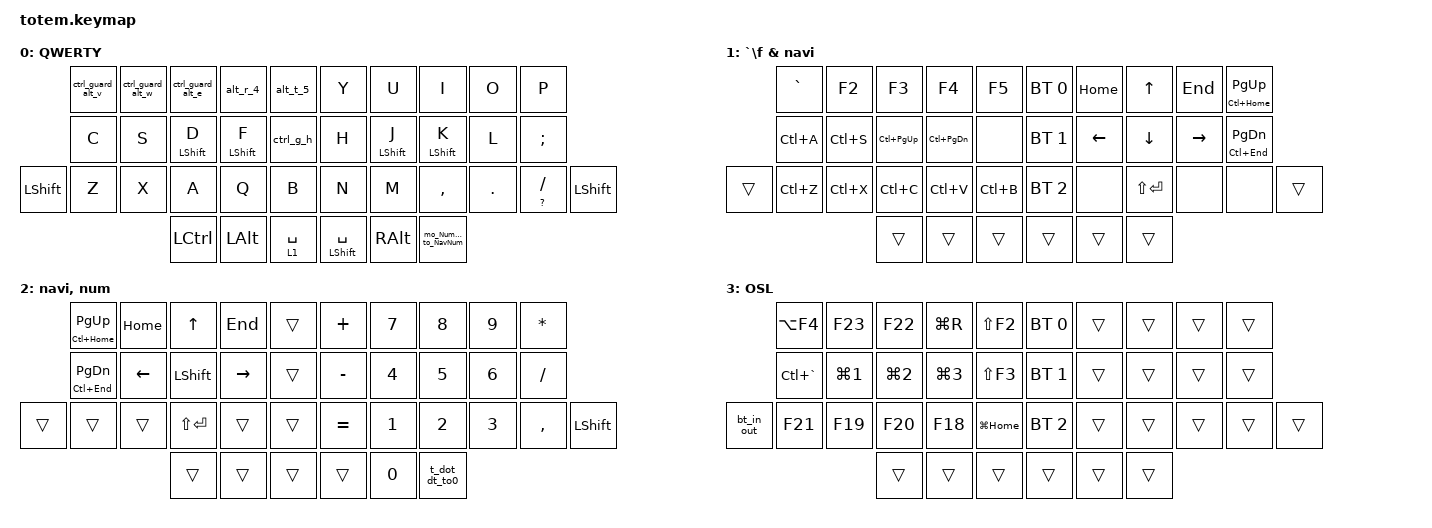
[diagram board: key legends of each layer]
#define QWERTY 0
#define NAV    1
#define NUM    2
#define OSL    3
#define PINKY  4

#include <behaviors.dtsi>
#include <dt-bindings/zmk/bt.h>
#include <dt-bindings/zmk/keys.h>
#include <dt-bindings/zmk/outputs.h>

/*
 * KEYBALL39 -> TOTEM layer port
 *
 * KEYBALL39 layers 0 / 1 / 2 / 3 / 7
 *       TOTEM layers 0 / 1 / 2 / 3 / 4
 *
 * TOTEM's two outer bottom-row keys are LSHIFT / RSHIFT.
 * The six thumb keys follow the supplied layout image:
 *
 *   left : LT(NAV, SPACE), LCTRL, LALT
 *   right: SPACE, CAPSLOCK, LT(NUM, SPACE)
 */

&lt {
    tapping-term-ms = <240>;
    flavor = "balanced";
    quick-tap-ms = <150>;
};

&mt {
    tapping-term-ms = <200>;
    flavor = "tap-preferred";
    quick-tap-ms = <150>;
};

&caps_word { continue-list = <UNDERSCORE MINUS>; };

/ {
    behaviors {
        cmqus: comma_question {
            compatible = "zmk,behavior-mod-morph";
            label = "COMMA_QUESTION";
            #binding-cells = <0>;
            bindings = <&kp COMMA>, <&kp QUESTION>;

            mods = <(MOD_LSFT | MOD_RSFT)>;
        };

        dtsmi: dot_semi {
            compatible = "zmk,behavior-mod-morph";
            label = "DOT_SEMI";
            #binding-cells = <0>;
            bindings = <&kp DOT>, <&kp SEMI>;

            mods = <(MOD_LSFT | MOD_RSFT)>;
        };

        hrm_L: homerow_left {
            compatible = "zmk,behavior-hold-tap";
            label = "Homerow_L";
            bindings = <&kp>, <&kp>;

            #binding-cells = <2>;
            tapping-term-ms = <280>;
            quick-tap-ms = <100>;
            flavor = "balanced";
            require-prior-idle-ms = <60>;
            hold-trigger-on-release;
            hold-trigger-key-positions = <
                5 6 7 8 9
                15 16 17 18 19
                26 27 28 29 30 31
                35 36 37
            >;
        };

        ht: hold_tap {
            compatible = "zmk,behavior-hold-tap";
            label = "Hold_Tap";
            bindings = <&kp>, <&kp>;

            #binding-cells = <2>;
            tapping-term-ms = <170>;
            flavor = "balanced";
        };

        hrm_r: homerow_right {
            compatible = "zmk,behavior-hold-tap";
            label = "Homerow_R";
            bindings = <&kp>, <&kp>;

            #binding-cells = <2>;
            tapping-term-ms = <280>;
            quick-tap-ms = <100>;
            flavor = "balanced";
            require-prior-idle-ms = <60>;
            hold-trigger-on-release;
            hold-trigger-key-positions = <
                0 1 2 3 4
                10 11 12 13 14
                20 21 22 23 24 25
                32 33 34
            >;
        };

        alt_v_1: alt_v_1 {
            compatible = "zmk,behavior-mod-morph";
            label = "ALT_V_1";
            bindings = <&kp V>, <&kp NUMBER_1>;

            #binding-cells = <0>;
            mods = <MOD_LALT>;
            keep-mods = <MOD_LALT>;
        };

        alt_w_2: alt_w_2 {
            compatible = "zmk,behavior-mod-morph";
            label = "ALT_W_2";
            bindings = <&kp W>, <&kp NUMBER_2>;

            #binding-cells = <0>;
            mods = <MOD_LALT>;
            keep-mods = <MOD_LALT>;
        };

        alt_e_3: alt_e_3 {
            compatible = "zmk,behavior-mod-morph";
            label = "ALT_E_3";
            bindings = <&kp E>, <&kp NUMBER_3>;

            #binding-cells = <0>;
            mods = <MOD_LALT>;
            keep-mods = <MOD_LALT>;
        };

        alt_r_4: alt_r_4 {
            compatible = "zmk,behavior-mod-morph";
            label = "ALT_R_4";
            bindings = <&kp R>, <&kp NUMBER_4>;

            #binding-cells = <0>;
            mods = <MOD_LALT>;
            keep-mods = <MOD_LALT>;
        };

        alt_t_5: alt_t_5 {
            compatible = "zmk,behavior-mod-morph";
            label = "ALT_T_5";
            bindings = <&kp T>, <&kp NUMBER_5>;

            #binding-cells = <0>;
            mods = <MOD_LALT>;
            keep-mods = <MOD_LALT>;
        };

        space_to0: space_to0 {
            compatible = "zmk,behavior-tap-dance";
            label = "SPACE_TO0";
            #binding-cells = <0>;
            bindings = <&kp SPACE>, <&to 0>;
        };

        space_shift: space_shift {
            compatible = "zmk,behavior-hold-tap";
            label = "SPACE_SHIFT";
            bindings = <&kp>, <&kp>;

            #binding-cells = <2>;
            tapping-term-ms = <200>;
            quick-tap-ms = <150>;
            flavor = "tap-preferred";
        };

        mo_dtap_to_NavNum: mo_dtap_to_NavNum {
            compatible = "zmk,behavior-tap-dance";
            label = "MO_DTAP_TO_NAVNUM";
            #binding-cells = <0>;
            bindings = <&mo 2>, <&tog 2>;
        };

        ctrl_guard_alt_e: ctrl_guard_alt_e {
            compatible = "zmk,behavior-mod-morph";
            label = "CTRL_GUARD_ALT_E";
            bindings = <&alt_e_3>, <&kp E>;

            #binding-cells = <0>;
            mods = <(MOD_LCTL)>;
            keep-mods = <(MOD_LCTL)>;
        };

        ctrl_guard_alt_v: ctrl_guard_alt_v {
            compatible = "zmk,behavior-mod-morph";
            label = "CTRL_GUARD_ALT_V";
            bindings = <&alt_v_1>, <&kp V>;

            #binding-cells = <0>;
            mods = <(MOD_LCTL)>;
            keep-mods = <(MOD_LCTL)>;
        };

        ctrl_guard_alt_w: ctrl_guard_alt_w {
            compatible = "zmk,behavior-mod-morph";
            label = "CTRL_GUARD_ALT_W";
            bindings = <&alt_w_2>, <&kp W>;

            #binding-cells = <0>;
            mods = <(MOD_LCTL)>;
            keep-mods = <(MOD_LCTL)>;
        };

        mo_NumNav_dt_to_NavNum: mo_NumNav_dt_to_NavNum {
            compatible = "zmk,behavior-tap-dance";
            label = "MO_NUMNAV_DT_TO_NAVNUM";
            #binding-cells = <0>;
            bindings = <&mo3_to2_in 0 0>, <&to 2>;
        };

        mo3_to2_in: mo3_to2_in {
            compatible = "zmk,behavior-hold-tap";
            label = "MO3_TO2_IN";
            bindings = <&mo>, <&none>;

            #binding-cells = <2>;
            tapping-term-ms = <150>;
        };

        n_b: n_b {
            compatible = "zmk,behavior-tap-dance";
            label = "N_B";
            #binding-cells = <0>;
            bindings = <&kp N>, <&kp B>;
        };

        t_dot_dt_to0: t_dot_dt_to0 {
            compatible = "zmk,behavior-tap-dance";
            label = "T_DOT_DT_TO0";
            #binding-cells = <0>;
            bindings = <&kp DOT>, <&to 0>;
        };

        b_n: b_n {
            compatible = "zmk,behavior-tap-dance";
            label = "B_N";
            #binding-cells = <0>;
            bindings = <&kp B>, <&kp N>;
        };

        caps_c: caps_c {
            compatible = "zmk,behavior-hold-tap";
            label = "CAPS_C";
            bindings = <&kp>, <&kp>;

            #binding-cells = <2>;
            tapping-term-ms = <200>;
        };

        ctrl_g_h: ctrl_g_h {
            compatible = "zmk,behavior-mod-morph";
            label = "CTRL_G_H";
            bindings = <&kp G>, <&kp H>;

            #binding-cells = <0>;
            keep-mods = <(MOD_LCTL)>;
            mods = <(MOD_LCTL)>;
        };
    };

    macros {
        Hiragana: Hiragana {
            compatible = "zmk,behavior-macro";
            #binding-cells = <0>;
            bindings = <&kp LC(SPACE)>;
            label = "HIRAGANA";
        };

        bt_in_out: bluetooth {
            compatible = "zmk,behavior-macro";
            #binding-cells = <0>;
            bindings = <&bt BT_SEL 0 &out OUT_TOG>;
            label = "BLUETOOTH";
        };
    };

    combos {
        compatible = "zmk,combos";

        enter_r {
            bindings = <&kp ENTER>;
            key-positions = <16 17>;
            layers = <0>;
        };

        enter_l {
            bindings = <&kp ENTER>;
            key-positions = <12 13>;
            layers = <0>;
        };

        del_r {
            bindings = <&kp DELETE>;
            key-positions = <28 29>;
            layers = <0 2 1>;
        };

        del_l {
            bindings = <&kp DELETE>;
            key-positions = <23 24>;
            layers = <0 1 2>;
        };

        bsp_r {
            bindings = <&kp BACKSPACE>;
            key-positions = <27 28>;
            layers = <0 2 1>;
        };

        bsp_l {
            bindings = <&kp BACKSPACE>;
            key-positions = <22 23>;
            layers = <0 2 1>;
        };

        caps_combo {
            bindings = <&kp CAPSLOCK>;
            key-positions = <21 22>;
            layers = <0>;
        };

        esc_combo {
            bindings = <&kp ESCAPE>;
            key-positions = <0 1>;
            layers = <0>;
        };

        osl_combo {
            bindings = <&sl 3>;
            key-positions = <11 12 13>;
            layers = <0>;
        };

        shift_home {
            bindings = <&kp LS(HOME)>;
            key-positions = <7 6>;
            layers = <1>;
        };

        shift_end {
            bindings = <&kp LS(END)>;
            key-positions = <8 7>;
            layers = <1>;
        };

        ctrl_left {
            bindings = <&kp LC(LEFT_ARROW)>;
            key-positions = <16 17>;
            layers = <1>;
        };

        ctrl_right {
            bindings = <&kp LC(RIGHT)>;
            key-positions = <17 18>;
            layers = <1>;
        };

        space_combo {
            bindings = <&kp SPACE>;
            key-positions = <24 25>;
            layers = <0>;
        };

        tab_combo {
            bindings = <&kp TAB>;
            key-positions = <11 10>;
            layers = <0 2>;
        };

        minus_underscore {
            bindings = <&kp MINUS>;
            key-positions = <6 7>;
            layers = <0>;
        };

        quote {
            bindings = <&kp SINGLE_QUOTE>;
            key-positions = <18 19>;
            layers = <0>;
        };

        dtap_to_l2 {
            bindings = <&mo_dtap_to_NavNum>;
            key-positions = <11 24>;
            layers = <0>;
        };

        kp {
            bindings = <&kp LEFT_PARENTHESIS>;
            key-positions = <3 4>;
        };

        bra_R {
            bindings = <&kp RIGHT_PARENTHESIS>;
            key-positions = <6 5>;
        };

        BKT_L {
            bindings = <&kp LEFT_BRACKET>;
            key-positions = <13 14>;
        };

        BKT_R {
            bindings = <&kp RIGHT_BRACKET>;
            key-positions = <16 15>;
        };

        gui_l {
            bindings = <&kp LG(L)>;
            key-positions = <1 2 0>;
            layers = <0>;
        };

        shift_home_l2 {
            bindings = <&kp LS(HOME)>;
            key-positions = <1 2>;
            layers = <2>;
        };

        shift_end_l2 {
            bindings = <&kp LS(END)>;
            key-positions = <2 3>;
            layers = <2>;
        };

        ctrl_left_l2 {
            bindings = <&kp LC(LEFT)>;
            key-positions = <11 12>;
            layers = <2>;
        };

        ctrl_righr_l2 {
            bindings = <&kp LC(RIGHT)>;
            key-positions = <12 13>;
            layers = <2>;
        };

        grave_R {
            bindings = <&kp GRAVE>;
            key-positions = <7 8>;
            layers = <0>;
        };

        backslash {
            bindings = <&kp BSLH>;
            key-positions = <29 30>;
            layers = <0>;
        };

        R_b {
            bindings = <&kp B>;
            key-positions = <26 27>;
            layers = <0>;
        };

        ssang_siut {
            bindings = <&kp LS(T)>;
            key-positions = <12 11>;
            layers = <0>;
        };

        dtap_to_l0 {
            bindings = <&to 0>;
            key-positions = <11 24>;
            layers = <2>;
        };

        osl_f2 {
            bindings = <&kp F2>;
            key-positions = <1 2 3>;
            layers = <0>;
        };

        question_mark {
            bindings = <&kp QUESTION>;
            key-positions = <17 27>;
            layers = <0>;
        };

        sft_r {
            bindings = <&kp LS(R)>;
            key-positions = <2 3>;
            layers = <0>;
        };

        sft_e {
            bindings = <&kp LS(E)>;
            key-positions = <2 1>;
            layers = <0>;
        };

        Sft_o {
            bindings = <&kp LS(O)>;
            key-positions = <6 8>;
            layers = <0>;
        };

        R_c {
            bindings = <&kp C>;
            key-positions = <11 13>;
            layers = <0>;
        };

        Sft_p {
            bindings = <&kp LS(P)>;
            key-positions = <27 29>;
            layers = <0>;
        };

        sft_w {
            bindings = <&kp LS(W)>;
            key-positions = <11 23>;
            layers = <0>;
        };

        sft_q {
            bindings = <&kp LS(Q)>;
            key-positions = <24 12>;
            layers = <0>;
        };

        R_p {
            bindings = <&kp P>;
            key-positions = <18 17>;
            layers = <0>;
        };

        R_v2 {
            bindings = <&kp V>;
            key-positions = <1 3>;
            layers = <0>;
        };

        R_z2 {
            bindings = <&kp Z>;
            key-positions = <22 24>;
            layers = <0>;
        };

        R_p2 {
            bindings = <&kp P>;
            key-positions = <18 16>;
            layers = <0>;
        };

        R_q2 {
            bindings = <&kp QUESTION>;
            key-positions = <27 18>;
            layers = <0>;
        };
    };

    keymap {
        compatible = "zmk,keymap";

        default_layer {
            label = "QWERTY";
            bindings = <
                &ctrl_guard_alt_v  &ctrl_guard_alt_w  &ctrl_guard_alt_e  &alt_r_4        &alt_t_5       &kp Y                          &kp U            &kp I                    &kp O    &kp P
                &kp C              &kp S              &hrm_L LSHFT D     &hrm_L LSHFT F  &ctrl_g_h      &kp H                          &hrm_r LSHIFT J  &hrm_r LSHIFT K          &kp L    &kp SEMICOLON
&kp LEFT_SHIFT  &kp Z              &kp X              &kp A              &kp Q           &kp B          &kp N                          &kp M            &kp COMMA                &kp DOT  &ht QUESTION SLASH  &kp LSHFT
                                                      &kp LCTRL          &kp LALT        &lt 1 SPACE    &space_shift LEFT_SHIFT SPACE  &kp RIGHT_ALT    &mo_NumNav_dt_to_NavNum
            >;
        };

        f_grave_navi_bt_layer {
            label = "`\f & navi";
            bindings = <
        &kp GRAVE  &kp F2     &kp F3         &kp F4             &kp F5       &bt BT_SEL 0  &kp HOME        &kp UP_ARROW   &kp END    &ht LC(HOME) PG_UP
        &kp LC(A)  &kp LC(S)  &kp LC(PG_UP)  &kp LC(PAGE_DOWN)  &none        &bt BT_SEL 1  &kp LEFT_ARROW  &kp DOWN       &kp RIGHT  &ht LC(END) PAGE_DOWN
&trans  &kp LC(Z)  &kp LC(X)  &kp LC(C)      &kp LC(V)          &kp LC(B)    &bt BT_SEL 2  &none           &kp LS(ENTER)  &none      &none                  &trans
                              &trans         &trans             &trans       &trans        &trans          &trans
            >;
        };

        navi_num {
            label = "navi, num";
            bindings = <
        &ht LC(HOME) PG_UP  &kp HOME  &kp UP          &kp END    &trans    &kp PLUS   &kp N7        &kp N8         &kp N9  &kp ASTERISK
        &ht LC(END) PG_DN   &kp LEFT  &kp LEFT_SHIFT  &kp RIGHT  &trans    &kp MINUS  &kp N4        &kp N5         &kp N6  &kp SLASH
&trans  &trans              &trans    &kp LS(ENTER)   &trans     &trans    &kp EQUAL  &kp N1        &kp N2         &kp N3  &kp COMMA     &kp LSHIFT
                                      &trans          &trans     &trans    &trans     &kp NUMBER_0  &t_dot_dt_to0
            >;
        };

        osl_layer {
            label = "OSL";
            bindings = <
            &kp LA(F4)     &kp F23           &kp F22           &kp LG(R)         &kp LS(F2)      &bt BT_SEL 0  &trans  &trans  &trans  &trans
            &kp LC(GRAVE)  &kp LG(NUMBER_1)  &kp LG(NUMBER_2)  &kp LG(NUMBER_3)  &kp LS(F3)      &bt BT_SEL 1  &trans  &trans  &trans  &trans
&bt_in_out  &kp F21        &kp F19           &kp F20           &kp F18           &kp LG(HOME)    &bt BT_SEL 2  &trans  &trans  &trans  &trans  &trans
                                             &trans            &trans            &trans          &trans        &trans  &trans
            >;
        };
    };
};
